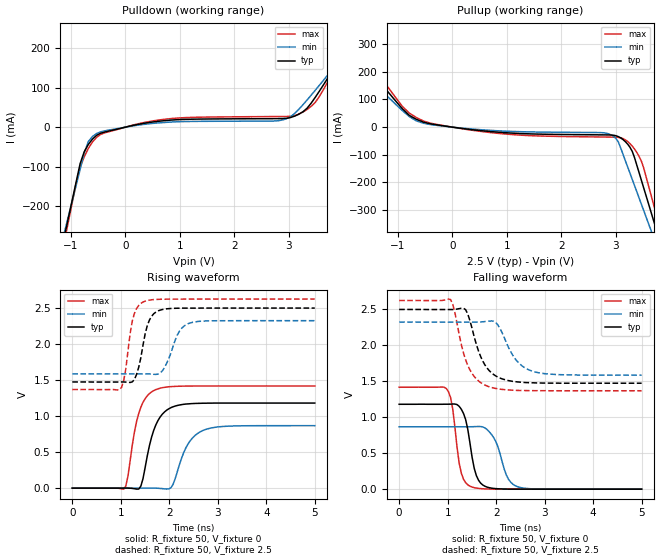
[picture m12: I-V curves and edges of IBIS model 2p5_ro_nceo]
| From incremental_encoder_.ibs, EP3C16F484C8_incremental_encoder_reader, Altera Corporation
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[Model] 2p5_ro_nceo
Model_type Output
Polarity Non-Inverting
Enable Active-Low
Vmeas = 1.1625V
Rref  = 10M
Cref  = 0pF
Vref  = 0V
C_comp  4.4pF   4.4pF   4.4pF
[Temperature Range] 25   85   0
[Voltage Range]   2.5   2.325   2.625
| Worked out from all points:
|   slope of the pulldown table from 0 to 0.375 V, typ, clamps not added: 35.9 ohm
|   slope of the pullup table from 0 to 0.375 V, typ, clamps not added: 39.5 ohm
|   rising waveform, R_fixture 50, V_fixture 0: 20-80 % time 285ps typ, 334ps min, 248ps max; typ from 0 V to 1.18 V
|   falling waveform, R_fixture 50, V_fixture 0: 20-80 % time 193ps typ, 260ps min, 163ps max; typ from 1.18 V to 0 V
|   rising waveform, R_fixture 50, V_fixture 2.5: 20-80 % time 198ps typ, 263ps min, 165ps max; typ from 1.47 V to 2.5 V
|   falling waveform, R_fixture 50, V_fixture 2.5: 20-80 % time 340ps typ, 380ps min, 319ps max; typ from 2.5 V to 1.47 V
[Pulldown]
| voltage   I (typ)   I (min)   I (max)
-2.5V     -1.152A    -1.022A    -1.219A
-1.136V   -284.8mA   -273.2mA   -297.6mA
-1.061V   -236.6mA   -231.6mA   -246.4mA
-909.1mV  -140.2mA   -148.5mA   -144mA
-757.6mV  -62.09mA   -65.34mA   -74.59mA
-530.3mV  -20.67mA   -16.06mA   -25.65mA
757.6mV   16.88mA    12.19mA    20.46mA
2.954V    22.16mA    21.04mA    26.88mA
3.485V    74.86mA    92.77mA    62.17mA
4.242V    235.3mA    221.2mA    246.2mA
4.47V     282.2mA    260.1mA    300.5mA
5V        388mA      350.9mA    420.4mA
[Pullup]
| voltage   I (typ)   I (min)   I (max)
-2.5V     434.6mA    366.3mA    492.6mA
-2.237V   373.3mA    315mA      423mA
-1.974V   312mA      263.7mA    353.4mA
-657.9mV  28.02mA    22.28mA    34.33mA
789.5mV   -17.41mA   -12.68mA   -21.45mA
3.009V    -31.28mA   -41.61mA   -36.37mA
3.305V    -87.66mA   -188.9mA   -68.58mA
3.475V    -193.1mA   -279.5mA   -123.8mA
3.644V    -303.1mA   -370mA     -241.1mA
3.729V    -358.1mA   -415.3mA   -302.6mA
3.814V    -413.2mA   -460.5mA   -364.2mA
5V        -1.184A    -1.094A    -1.226A
[Ramp]
dV/dt_r   6.156e-001/1.983e-010  4.434e-001/2.627e-010  7.536e-001/1.653e-010
dV/dt_f   6.156e-001/3.405e-010  4.434e-001/3.796e-010  7.536e-001/3.190e-010
R_load = 50ohms
[Rising Waveform]
R_fixture   = 50
V_fixture   = 0
V_fixture_min = 0
V_fixture_max = 0
| time   V (typ)   V (min)   V (max)
0s        0V         0V         0V
1.06ns    424.6uV    -173.1uV   -14.42mV
1.149ns   534.9uV    -128.9uV   169.3mV
1.282ns   -8.078mV   -166.7uV   779.1mV
1.415ns   28.76mV    -165.5uV   1.125V
1.725ns   880.3mV    -421.7uV   1.369V
2.035ns   1.118V     5.861mV    1.409V
2.389ns   1.17V      615.4mV    1.417V
2.699ns   1.179V     801.6mV    1.418V
5ns       1.181V     867.5mV    1.418V
[Falling Waveform]
R_fixture   = 50
V_fixture   = 0
V_fixture_min = 0
V_fixture_max = 0
| time   V (typ)   V (min)   V (max)
0s        1.181V     867.5mV    1.418V
971.5ps   1.182V     867.5mV    1.401V
1.104ns   1.185V     867.5mV    1.118V
1.282ns   1.112V     867.6mV    223.3mV
1.37ns    970.8mV    867.7mV    91.29mV
1.503ns   448.1mV    868.8mV    29.49mV
1.725ns   57.89mV    865.6mV    5.603mV
1.946ns   10.72mV    720.3mV    1.133mV
2.433ns   332.8uV    36.47mV    32.51uV
5ns       1.629uV    -586.4nV   837.7nV
[Rising Waveform]
R_fixture   = 50
V_fixture   = 2.5
V_fixture_min = 2.325
V_fixture_max = 2.625
| time   V (typ)   V (min)   V (max)
0s        1.474V     1.586V     1.369V
1.016ns   1.474V     1.586V     1.398V
1.237ns   1.475V     1.586V     2.32V
1.37ns    1.679V     1.586V     2.536V
1.503ns   2.144V     1.586V     2.595V
1.636ns   2.386V     1.582V     2.615V
1.858ns   2.48V      1.628V     2.623V
2.212ns   2.498V     2.181V     2.624V
2.433ns   2.499V     2.294V     2.625V
5ns       2.5V       2.325V     2.625V
[Falling Waveform]
R_fixture   = 50
V_fixture   = 2.5
V_fixture_min = 2.325
V_fixture_max = 2.625
| time   V (typ)   V (min)   V (max)
0s        2.5V       2.325V     2.625V
1.06ns    2.499V     2.324V     2.638V
1.326ns   2.518V     2.324V     1.897V
1.415ns   2.437V     2.324V     1.723V
1.636ns   1.922V     2.325V     1.506V
1.813ns   1.685V     2.335V     1.435V
1.991ns   1.576V     2.32V      1.401V
2.389ns   1.496V     1.817V     1.375V
2.744ns   1.48V      1.642V     1.371V
5ns       1.474V     1.586V     1.369V
